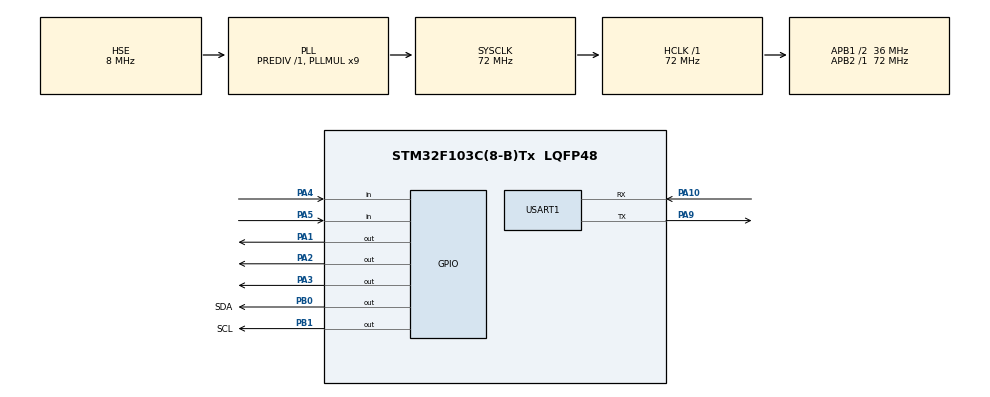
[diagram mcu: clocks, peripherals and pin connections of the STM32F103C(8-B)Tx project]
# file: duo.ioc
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Mcu.Family=STM32F1
Mcu.Name=STM32F103C(8-B)Tx
Mcu.Package=LQFP48
NVIC.PriorityGroup=NVIC_PRIORITYGROUP_4
NVIC.USART1_IRQn=true\:0\:0\:false\:false\:true\:true\:true\:true
PA1.Signal=GPIO_Output
PA10.Mode=Asynchronous
PA10.Signal=USART1_RX
PA13.Mode=Serial_Wire
PA13.Signal=SYS_JTMS-SWDIO
PA14.Mode=Serial_Wire
PA14.Signal=SYS_JTCK-SWCLK
PA2.Signal=GPIO_Output
PA3.Signal=GPIO_Output
PA4.GPIO_PuPd=GPIO_PULLUP
PA4.Signal=GPIO_Input
PA5.GPIO_PuPd=GPIO_PULLUP
PA5.Signal=GPIO_Input
PA9.Mode=Asynchronous
PA9.Signal=USART1_TX
PB0.GPIO_Label=SDA
PB0.GPIO_ModeDefaultOutputPP=GPIO_MODE_OUTPUT_OD
PB0.GPIO_PuPd=GPIO_NOPULL
PB0.GPIO_Speed=GPIO_SPEED_FREQ_HIGH
PB0.Signal=GPIO_Output
PB1.GPIO_Label=SCL
PB1.GPIO_ModeDefaultOutputPP=GPIO_MODE_OUTPUT_OD
PB1.GPIO_PuPd=GPIO_NOPULL
PB1.GPIO_Speed=GPIO_SPEED_FREQ_HIGH
PB1.Signal=GPIO_Output
PC14-OSC32_IN.Mode=LSE-External-Oscillator
PC14-OSC32_IN.Signal=RCC_OSC32_IN
PC15-OSC32_OUT.Mode=LSE-External-Oscillator
PC15-OSC32_OUT.Signal=RCC_OSC32_OUT
PD0-OSC_IN.Mode=HSE-External-Oscillator
PD0-OSC_IN.Signal=RCC_OSC_IN
PD1-OSC_OUT.Mode=HSE-External-Oscillator
PD1-OSC_OUT.Signal=RCC_OSC_OUT
ProjectManager.HeapSize=0x200
ProjectManager.StackSize=0x400
ProjectManager.TargetToolchain=STM32CubeIDE
RCC.AHBFreq_Value=72000000
RCC.APB1CLKDivider=RCC_HCLK_DIV2
RCC.APB1Freq_Value=36000000
RCC.APB1TimFreq_Value=72000000
RCC.APB2Freq_Value=72000000
RCC.APB2TimFreq_Value=72000000
RCC.HCLKFreq_Value=72000000
RCC.PLLMUL=RCC_PLL_MUL9
RCC.PLLSourceVirtual=RCC_PLLSOURCE_HSE
RCC.SYSCLKFreq_VALUE=72000000
RCC.SYSCLKSource=RCC_SYSCLKSOURCE_PLLCLK
RCC.USBFreq_Value=72000000
USART1.VirtualMode=VM_ASYNC
board=custom

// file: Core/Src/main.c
/* USER CODE BEGIN Header */
/**
  ******************************************************************************
  * @file           : main.c
  * @brief          : Main program body
  ******************************************************************************
  */
/* USER CODE END Header */

#include "main.h"
#include "usart.h"
#include "gpio.h"

/* USER CODE BEGIN Includes */
#include <string.h>
#include "OLED.h"
/* USER CODE END Includes */

/* USER CODE BEGIN PD */
#define RX_BUF_SIZE  32
/* USER CODE END PD */

/* USER CODE BEGIN PV */

uint8_t  g_run  = 1;
uint8_t  g_dir  = 0;
uint16_t g_step = 300;
uint8_t  g_led  = 0;
uint32_t g_last_tick = 0;

uint8_t  g_led_display = 0;
uint32_t g_oled_tick   = 0;

uint8_t  g_dir_key_last = 1;
uint8_t  g_run_key_last = 1;
uint32_t g_dir_tick = 0;
uint32_t g_run_tick = 0;
uint8_t  g_dir_wait = 0;
uint8_t  g_run_wait = 0;

uint8_t  g_rx_byte = 0;
uint8_t  g_rx_buf[RX_BUF_SIZE];
uint8_t  g_rx_len = 0;
uint8_t  g_pkt_ok = 0;

uint8_t  g_txt[24];

uint8_t  preset_run[4]  = {1, 1, 0, 0};
uint8_t  preset_dir[4]  = {0, 1, 0, 1};
uint16_t preset_step[4] = {300, 500, 300, 500};
uint8_t  preset_led[4]  = {0, 1, 2, 0};

/* USER CODE END PV */

void SystemClock_Config(void);
/* USER CODE BEGIN PFP */
void led_show(uint8_t i);
void oled_update(void);
void oled_full_update(void);
void oled_line(uint8_t line, uint8_t col, uint8_t *s);
void key_scan(void);
void app_tick(void);
void apply_packet(void);
void start_uart_receive(void);
void uart_send_str(uint8_t *s);
void uart_send_state(void);
/* USER CODE END PFP */

/* USER CODE BEGIN 0 */

void led_show(uint8_t i)
{
    HAL_GPIO_WritePin(GPIOA, GPIO_PIN_1 | GPIO_PIN_2 | GPIO_PIN_3, GPIO_PIN_RESET);

    if (i == 0)      HAL_GPIO_WritePin(GPIOA, GPIO_PIN_1, GPIO_PIN_SET);
    else if (i == 1) HAL_GPIO_WritePin(GPIOA, GPIO_PIN_2, GPIO_PIN_SET);
    else if (i == 2) HAL_GPIO_WritePin(GPIOA, GPIO_PIN_3, GPIO_PIN_SET);

    if (g_led_display != i)
    {
        g_led_display = i;
        oled_update();
    }
}

void oled_line(uint8_t line, uint8_t col, uint8_t *s)
{
    uint8_t i;

    for (i = col; i <= 16; i++)
    {
        OLED_ShowChar(line, i, ' ');
    }
    OLED_ShowString(line, col, (char *)s);
}

void oled_update(void)
{
    uint8_t led_val;

    if (g_led > 2) g_led = 0;
    led_val = g_led + 1;

    if (g_run == 1) oled_line(1, 1, (uint8_t *)"STATE:RUN ");
    else            oled_line(1, 1, (uint8_t *)"STATE:STOP");

    if (g_dir == 0) oled_line(2, 1, (uint8_t *)"DIR:FWD ");
    else            oled_line(2, 1, (uint8_t *)"DIR:REV ");

    g_txt[0] = 'S';
    g_txt[1] = 'T';
    g_txt[2] = 'E';
    g_txt[3] = 'P';
    g_txt[4] = ':';
    g_txt[5] = '0' + (uint8_t)((g_step / 100) % 10);
    g_txt[6] = '0' + (uint8_t)((g_step / 10) % 10);
    g_txt[7] = '0' + (uint8_t)(g_step % 10);
    g_txt[8] = 'm';
    g_txt[9] = 's';
    g_txt[10] = ' ';
    g_txt[11] = '\0';
    oled_line(3, 1, g_txt);

    g_txt[0] = 'L';
    g_txt[1] = 'E';
    g_txt[2] = 'D';
    g_txt[3] = ':';
    g_txt[4] = '0' + led_val;
    g_txt[5] = ' ';
    g_txt[6] = '\0';
    oled_line(4, 1, g_txt);
}

void oled_full_update(void)
{
    OLED_Clear();
    oled_update();
}

void key_scan(void)
{
    uint8_t dir_now = HAL_GPIO_ReadPin(GPIOA, GPIO_PIN_4);
    uint8_t run_now = HAL_GPIO_ReadPin(GPIOA, GPIO_PIN_5);

    if (g_dir_key_last == 1 && dir_now == 0 && g_dir_wait == 0)
    {
        g_dir_wait = 1;
        g_dir_tick = HAL_GetTick();
    }
    if (g_dir_wait == 1 && (HAL_GetTick() - g_dir_tick >= 20))
    {
        if (HAL_GPIO_ReadPin(GPIOA, GPIO_PIN_4) == 0)
        {
            if (g_dir == 0) g_dir = 1;
            else g_dir = 0;
            oled_full_update();
            uart_send_state();
        }
        g_dir_wait = 0;
    }
    g_dir_key_last = dir_now;

    if (g_run_key_last == 1 && run_now == 0 && g_run_wait == 0)
    {
        g_run_wait = 1;
        g_run_tick = HAL_GetTick();
    }
    if (g_run_wait == 1 && (HAL_GetTick() - g_run_tick >= 20))
    {
        if (HAL_GPIO_ReadPin(GPIOA, GPIO_PIN_5) == 0)
        {
            if (g_run == 1) g_run = 0;
            else g_run = 1;
            oled_full_update();
            uart_send_state();
        }
        g_run_wait = 0;
    }
    g_run_key_last = run_now;
}

void app_tick(void)
{
    uint32_t now = HAL_GetTick();

    if (g_run == 1 && (now - g_last_tick >= g_step))
    {
        g_last_tick = now;

        if (g_dir == 0)
        {
            g_led++;
            if (g_led > 2) g_led = 0;
        }
        else
        {
            if (g_led == 0) g_led = 2;
            else g_led--;
        }
    }
    led_show(g_led);
}

void start_uart_receive(void)
{
    HAL_UART_Receive_IT(&huart1, &g_rx_byte, 1);
}

void uart_send_str(uint8_t *s)
{
    HAL_UART_Transmit(&huart1, s, strlen((char *)s), 100);
}

void uart_send_state(void)
{
    g_txt[0] = 'R';
    g_txt[1] = 'U';
    g_txt[2] = 'N';
    g_txt[3] = '=';
    g_txt[4] = '0' + g_run;
    g_txt[5] = ' ';
    g_txt[6] = 'D';
    g_txt[7] = 'I';
    g_txt[8] = 'R';
    g_txt[9] = '=';
    g_txt[10] = '0' + g_dir;
    g_txt[11] = ' ';
    g_txt[12] = 'L';
    g_txt[13] = 'E';
    g_txt[14] = 'D';
    g_txt[15] = '=';
    g_txt[16] = '0' + (g_led + 1);
    g_txt[17] = '\r';
    g_txt[18] = '\n';
    g_txt[19] = '\0';
    uart_send_str(g_txt);
}

void apply_packet(void)
{
    uint8_t cmd = g_rx_buf[1];

    if (cmd >= 0x01 && cmd <= 0x04)
    {
        uint8_t idx = cmd - 1;
        g_run  = preset_run[idx];
        g_dir  = preset_dir[idx];
        g_step = preset_step[idx];
        g_led  = preset_led[idx];
        g_led_display = g_led;
        oled_full_update();
        led_show(g_led);
        uart_send_str((uint8_t *)"CMD OK\r\n");
        uart_send_state();
    }
    else
    {
        uart_send_str((uint8_t *)"CMD ERR\r\n");
    }
}

void HAL_UART_RxCpltCallback(UART_HandleTypeDef *huart)
{
    uint8_t i;
    uint8_t sum = 0;

    if (huart->Instance != USART1) return;

    if (g_rx_byte == 0xAA)
    {
        g_rx_len = 0;
    }

    if (g_rx_len < RX_BUF_SIZE)
    {
        g_rx_buf[g_rx_len] = g_rx_byte;
        g_rx_len++;
    }

    if (g_rx_len >= 6)
    {
        for (i = 0; i < 5; i++)
        {
            sum += g_rx_buf[i];
        }
        if (sum == g_rx_buf[5])
        {
            g_pkt_ok = 1;
        }
        g_rx_len = 0;
    }

    HAL_UART_Receive_IT(&huart1, &g_rx_byte, 1);
}

/* USER CODE END 0 */

int main(void)
{

  HAL_Init();
  SystemClock_Config();

  MX_GPIO_Init();
  MX_USART1_UART_Init();

  /* USER CODE BEGIN 2 */
  OLED_Init();
  g_led_display = g_led;
  oled_full_update();
  led_show(g_led);
  start_uart_receive();
  uart_send_str((uint8_t *)"START\r\n");
  /* USER CODE END 2 */

  /* Infinite loop */
  /* USER CODE BEGIN WHILE */
  while (1)
  {
    key_scan();
    app_tick();

    if (g_pkt_ok == 1)
    {
        g_pkt_ok = 0;
        apply_packet();
    }

    /* USER CODE END WHILE */

  }
}

void SystemClock_Config(void)
{
  RCC_OscInitTypeDef RCC_OscInitStruct = {0};
  RCC_ClkInitTypeDef RCC_ClkInitStruct = {0};

  RCC_OscInitStruct.OscillatorType = RCC_OSCILLATORTYPE_HSE;
  RCC_OscInitStruct.HSEState = RCC_HSE_ON;
  RCC_OscInitStruct.HSEPredivValue = RCC_HSE_PREDIV_DIV1;
  RCC_OscInitStruct.HSIState = RCC_HSI_ON;
  RCC_OscInitStruct.PLL.PLLState = RCC_PLL_ON;
  RCC_OscInitStruct.PLL.PLLSource = RCC_PLLSOURCE_HSE;
  RCC_OscInitStruct.PLL.PLLMUL = RCC_PLL_MUL9;
  if (HAL_RCC_OscConfig(&RCC_OscInitStruct) != HAL_OK)
  {
    Error_Handler();
  }

  RCC_ClkInitStruct.ClockType = RCC_CLOCKTYPE_HCLK|RCC_CLOCKTYPE_SYSCLK
                              |RCC_CLOCKTYPE_PCLK1|RCC_CLOCKTYPE_PCLK2;
  RCC_ClkInitStruct.SYSCLKSource = RCC_SYSCLKSOURCE_PLLCLK;
  RCC_ClkInitStruct.AHBCLKDivider = RCC_SYSCLK_DIV1;
  RCC_ClkInitStruct.APB1CLKDivider = RCC_HCLK_DIV2;
  RCC_ClkInitStruct.APB2CLKDivider = RCC_HCLK_DIV1;

  if (HAL_RCC_ClockConfig(&RCC_ClkInitStruct, FLASH_LATENCY_2) != HAL_OK)
  {
    Error_Handler();
  }
}

void Error_Handler(void)
{
  __disable_irq();
  while (1)
  {
  }
}
